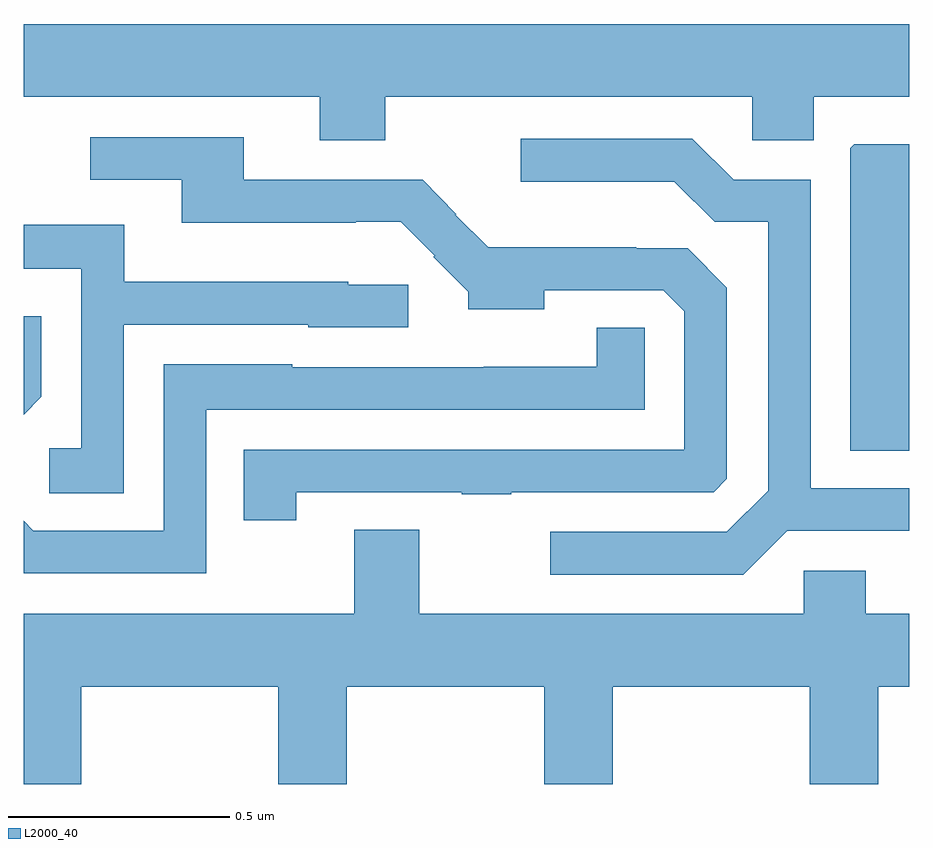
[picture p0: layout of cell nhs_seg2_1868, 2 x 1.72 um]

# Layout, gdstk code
import gdstk
lib = gdstk.Library(unit=1e-6, precision=1e-09)
def P(c, l, *ps):  # polygons
    for p in ps: c.add(gdstk.Polygon(p, *l))
L2000_40 = (2000, 40)

nhs_seg2_1868 = lib.new_cell('nhs_seg2_1868')
P(nhs_seg2_1868, L2000_40, [(134.817,598.352),(135.645,598.352),(135.645,598.254),(135.784,598.254),(135.784,598.352),(136,598.352),(136,598.516),(134,598.516),(134,598.352),(134.669,598.352),(134.669,598.253),(134.817,598.253)],
  [(134.616,597.459),(134.989,597.459),(134.989,597.454),(135.101,597.454),(135.101,597.459),(135.558,597.459),(135.588,597.489),(135.588,597.921),(135.499,598.01),(135.383,598.01),(135.383,598.012),(135.049,598.012),(134.975,598.085),(134.977,598.087),(134.901,598.164),(134.497,598.164),(134.497,598.26),(134.151,598.26),(134.151,598.164),(134.357,598.164),(134.357,598.067),(134.75,598.067),(134.75,598.07),(134.852,598.07),(134.928,597.993),(134.925,597.99),(135.004,597.912),(135.004,597.872),(135.175,597.872),(135.175,597.915),(135.444,597.915),(135.492,597.867),(135.492,597.555),(134.497,597.555),(134.497,597.396),(134.616,597.396)],
  [(135.724,597.372),(136,597.372),(136,597.468),(135.777,597.468),(135.777,598.164),(135.603,598.164),(135.51,598.257),(135.123,598.257),(135.123,598.16),(135.469,598.16),(135.56,598.069),(135.681,598.069),(135.681,597.462),(135.588,597.369),(135.189,597.369),(135.189,597.273),(135.625,597.273)],
  [(136,598.245),(135.876,598.245),(135.866,598.235),(135.866,597.553),(136,597.553)],
  [(134.226,597.837),(134.643,597.837),(134.643,597.831),(134.868,597.831),(134.868,597.927),(134.733,597.927),(134.733,597.934),(134.227,597.934),(134.227,598.063),(134,598.063),(134,597.963),(134.13,597.963),(134.13,597.558),(134.058,597.558),(134.058,597.457),(134.226,597.457)],
  [(134.04,597.674),(134.04,597.856),(134,597.856),(134,597.634)],
  [(134.412,597.645),(135.402,597.645),(135.402,597.83),(135.294,597.83),(135.294,597.742),(135.039,597.742),(135.039,597.741),(134.607,597.741),(134.607,597.748),(134.316,597.748),(134.316,597.372),(134.022,597.372),(134,597.394),(134,597.276),(134.412,597.276)],
  [(134.13,597.02),(134.575,597.02),(134.575,596.8),(134.73,596.8),(134.73,597.02),(135.175,597.02),(135.175,596.8),(135.33,596.8),(135.33,597.02),(135.775,597.02),(135.775,596.8),(135.93,596.8),(135.93,597.02),(136,597.02),(136,597.184),(135.901,597.184),(135.901,597.282),(135.762,597.282),(135.762,597.184),(134.893,597.184),(134.893,597.374),(134.746,597.374),(134.746,597.184),(134,597.184),(134,596.8),(134.13,596.8)])

lib.write_gds('nhs_seg2_1868.gds')
